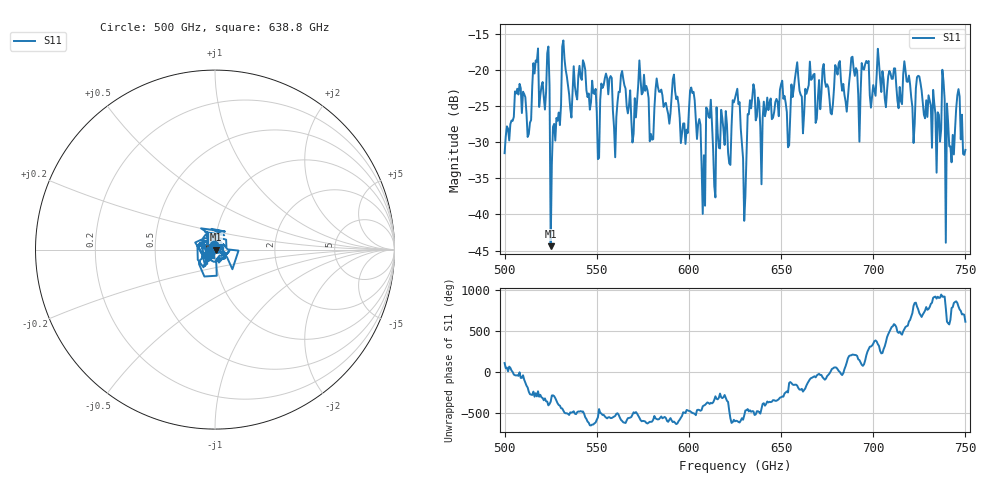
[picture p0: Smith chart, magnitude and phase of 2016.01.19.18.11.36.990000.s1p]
!Created with skrf (http://scikit-rf.org).
# GHz S RI R 50.0
!freq ReS11 ImS11
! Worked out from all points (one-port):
!   401 points, 500 GHz to 750 GHz, reference 50 ohm
!   lowest |S11| = -44.4 dB at 525 GHz (marker M1), VSWR 1.01, Z = 50.6 - j0.0327 ohm
!   |S11| at or under -10 dB: start of sweep to end of sweep
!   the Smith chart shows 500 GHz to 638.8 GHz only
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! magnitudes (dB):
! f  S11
! 500 GHz  -31.5
! 506.9 GHz  -22.6
! 513.1 GHz  -28.8
! 516.9 GHz  -18.6
! 523.1 GHz  -17.6
! 525 GHz  -44.4
! 526.2 GHz  -27.8
! 531.2 GHz  -16.7
! 550.6 GHz  -32.3
! 562.5 GHz  -23.0
! 574.4 GHz  -23.3
! 580 GHz  -29.6
! 583.1 GHz  -22.3
! 593.8 GHz  -23.6
! 601.9 GHz  -23.1
! 607.5 GHz  -39.9
! 610.6 GHz  -26.4
! 615 GHz  -25.1
! 625 GHz  -23.9
! 630 GHz  -40.9
! 634.4 GHz  -23.8
! 656.2 GHz  -23.7
! 687.5 GHz  -20.3
! 718.8 GHz  -21.6
! 737.5 GHz  -19.9
! 740.6 GHz  -27.2
! 745.6 GHz  -23.5
! 750 GHz  -31.0
